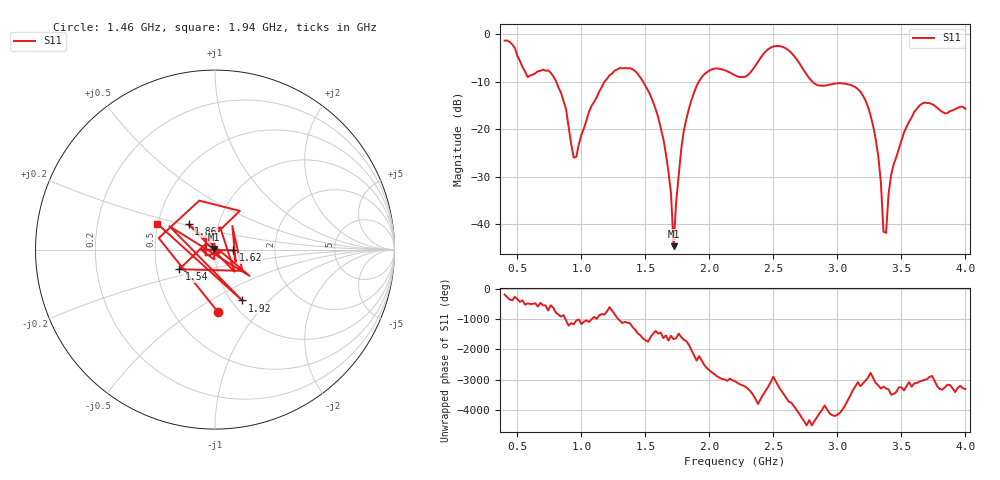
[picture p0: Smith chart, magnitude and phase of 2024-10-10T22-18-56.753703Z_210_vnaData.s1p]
! Created with skrf (http://scikit-rf.org).
# Hz S RI R 50.0
!freq ReS11 ImS11
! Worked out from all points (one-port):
!   181 points, 400 MHz to 4 GHz, reference 50 ohm
!   lowest |S11| = -44.6 dB at 1.72 GHz (marker M1), VSWR 1.01, Z = 49.5 + j0.371 ohm
!   |S11| at or under -10 dB: 803 MHz to 1.18 GHz (377.2 MHz wide, 38 % of centre); 1.482 GHz to 1.918 GHz (435.3 MHz wide, 25.6 % of centre); 2.804 GHz to end of sweep
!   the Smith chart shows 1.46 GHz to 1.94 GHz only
!   S11 on the Smith chart (normalised r, x): 1.46 GHz: 0.81, -0.65; 1.54 GHz: 0.65, -0.15; 1.62 GHz: 1.23, -0.01; 1.86 GHz: 0.72, +0.21; 1.92 GHz: 1.12, -0.71; 1.94 GHz: 0.50, +0.16
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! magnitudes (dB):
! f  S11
! 400 MHz  -1.4
! 760 MHz  -8.1
! 860 MHz  -14.0
! 960 MHz  -25.8
! 1.08 GHz  -15.1
! 1.3 GHz  -7.1
! 1.46 GHz  -9.1
! 1.54 GHz  -12.9
! 1.62 GHz  -19.8
! 1.7 GHz  -33.4
! 1.72 GHz  -44.6
! 1.76 GHz  -29.9
! 1.86 GHz  -13.8
! 1.92 GHz  -9.9
! 1.94 GHz  -9.1
! 2.2 GHz  -8.7
! 2.5 GHz  -2.6
! 2.66 GHz  -4.5
! 2.84 GHz  -10.7
! 3.1 GHz  -10.7
! 3.28 GHz  -19.4
! 3.34 GHz  -31.3
! 3.36 GHz  -41.6
! 3.38 GHz  -41.9
! 3.42 GHz  -29.6
! 3.56 GHz  -18.4
! 3.68 GHz  -14.4
! 4 GHz  -15.7
